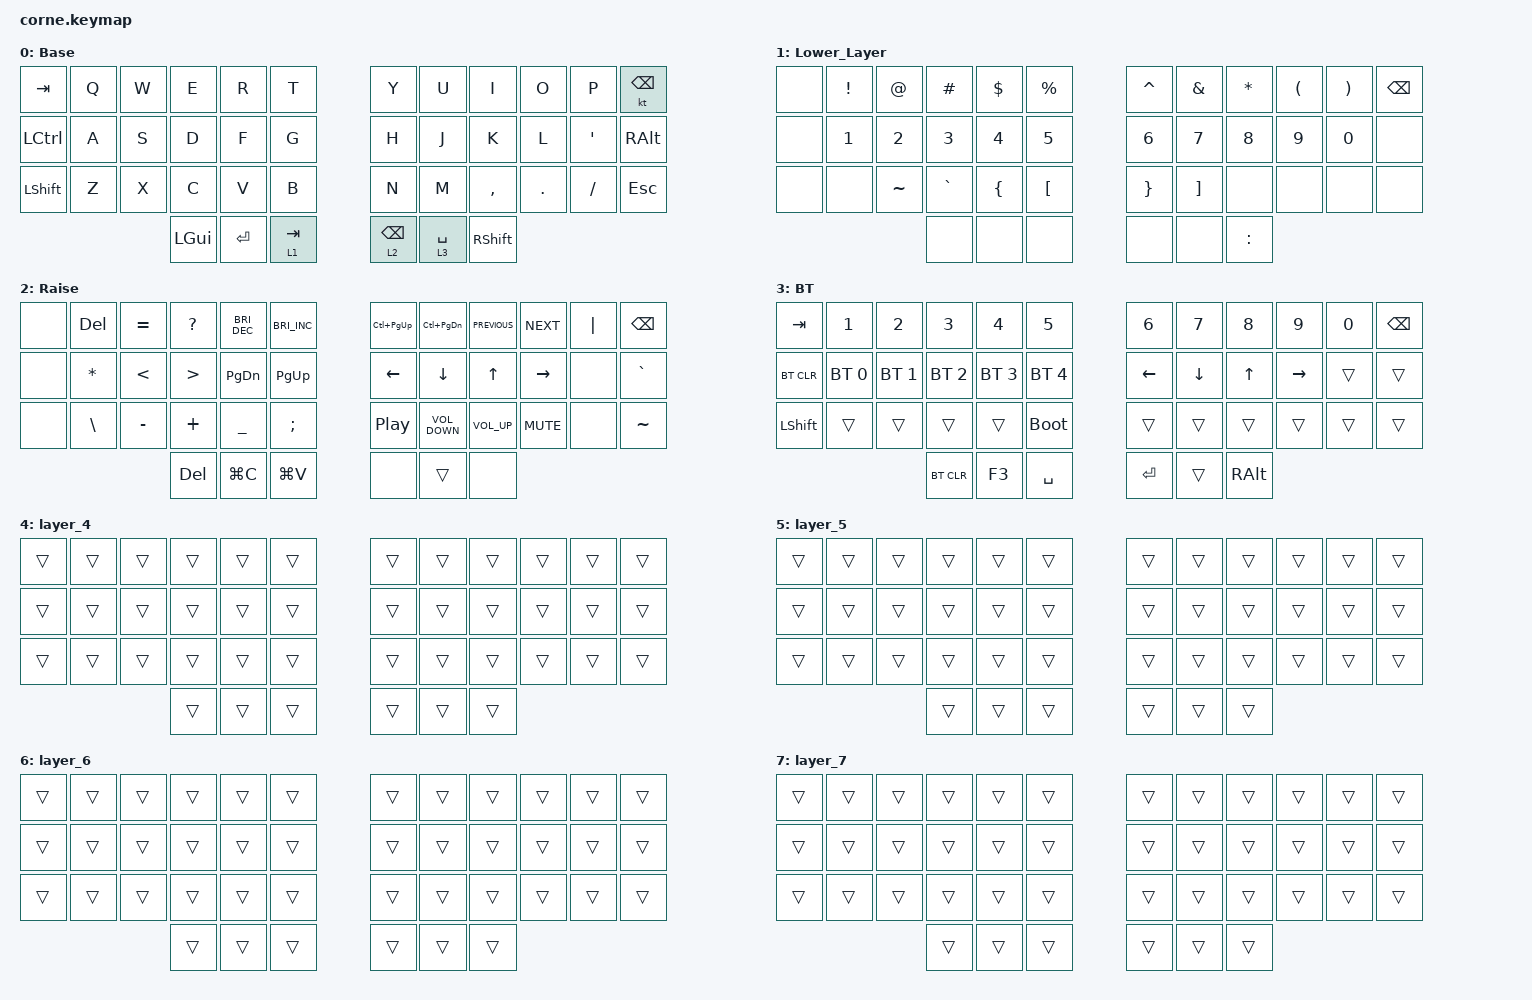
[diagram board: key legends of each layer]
/*
 * Copyright (c) 2020 The ZMK Contributors
 *
 * SPDX-License-Identifier: MIT
 *
 */

#include <behaviors.dtsi>
#include <dt-bindings/zmk/bt.h>
#include <dt-bindings/zmk/keys.h>
#include <dt-bindings/zmk/keys.h>

/ {
    keymap {
        compatible = "zmk,keymap";

        default_layer {
            // -----------------------------------------------------------------------------------------
            // |  TAB |  Q  |  W  |  E  |  R  |  T  |   |  Y  |  U   |  I  |  O  |  P  | BKSP |
            // | CTRL |  A  |  S  |  D  |  F  |  G  |   |  H  |  J   |  K  |  L  |  ;  |  '   |
            // | SHFT |  Z  |  X  |  C  |  V  |  B  |   |  N  |  M   |  ,  |  .  |  /  | ESC  |
            //                    | GUI | LWR | SPC |   | ENT | RSE  | ALT |

            label = "Base";
            bindings = <
&kp TAB           &kp Q  &kp W  &kp E     &kp R      &kp T        &kp Y            &kp U        &kp I            &kp O    &kp P             &kt BACKSPACE
&kp LEFT_CONTROL  &kp A  &kp S  &kp D     &kp F      &kp G        &kp H            &kp J        &kp K            &kp L    &kp SINGLE_QUOTE  &kp RIGHT_ALT
&kp LSHFT         &kp Z  &kp X  &kp C     &kp V      &kp B        &kp N            &kp M        &kp COMMA        &kp DOT  &kp FSLH          &kp ESC
                                &kp LGUI  &kp ENTER  &lt 1 TAB    &lt 2 BACKSPACE  &lt 3 SPACE  &kp RIGHT_SHIFT
            >;
        };

        Lower_Layer {
            bindings = <
&none  &kp EXCLAMATION  &kp AT_SIGN  &kp HASH   &kp DOLLAR      &kp PERCENT         &kp CARET        &kp AMPERSAND      &kp ASTERISK  &kp LEFT_PARENTHESIS  &kp RIGHT_PARENTHESIS  &kp BACKSPACE
&none  &kp N1           &kp N2       &kp N3     &kp N4          &kp N5              &kp N6           &kp N7             &kp N8        &kp N9                &kp N0                 &none
&none  &none            &kp TILDE    &kp GRAVE  &kp LEFT_BRACE  &kp LEFT_BRACKET    &kp RIGHT_BRACE  &kp RIGHT_BRACKET  &none         &none                 &none                  &none
                                     &none      &none           &none               &none            &none              &kp COLON
            >;
        };

        Raise_Layer {
            // -----------------------------------------------------------------------------------------
            // |  TAB |  !  |  @  |  #  |  $  |  %  |   |  ^  |  &  |  *  |  (  |  )  | BKSP |
            // | CTRL |     |     |     |     |     |   |  -  |  =  |  [  |  ]  |  \  |  `   |
            // | SHFT |     |     |     |     |     |   |  _  |  +  |  {  |  }  | "|" |  ~   |
            //                    | GUI |     | SPC |   | ENT |     | ALT |

            label = "Raise";
            bindings = <
&none  &kp DEL        &kp EQUAL      &kp QUESTION      &kp C_BRIGHTNESS_DEC  &kp C_BRIGHTNESS_INC    &kp LC(PAGE_UP)   &kp LC(PAGE_DOWN)  &kp C_PREVIOUS   &kp C_NEXT  &kp PIPE  &kp BSPC
&none  &kp ASTRK      &kp LESS_THAN  &kp GREATER_THAN  &kp PAGE_DOWN         &kp PAGE_UP             &kp LEFT_ARROW    &kp DOWN           &kp UP_ARROW     &kp RIGHT   &none     &kp GRAVE
&none  &kp BACKSLASH  &kp MINUS      &kp PLUS          &kp UNDER             &kp SEMI                &kp C_PLAY_PAUSE  &kp C_VOLUME_DOWN  &kp C_VOLUME_UP  &kp K_MUTE  &none     &kp TILDE
                                     &kp DEL           &kp LG(C)             &kp LG(V)               &none             &trans             &none
            >;
        };

        Func {
            // -----------------------------------------------------------------------------------------
            // |  TAB |  1  |  2  |  3  |  4  |  5  |   |  6  |  7  |  8  |  9  |  0  | BKSP |
            // | BTCLR| BT1 | BT2 | BT3 | BT4 | BT5 |   | LFT | DWN |  UP | RGT |     |      |
            // | SHFT |     |     |     |     |     |   |     |     |     |     |     |      |
            //                    |BTCLR|     | SPC |   | ENT |     | ALT |

            label = "BT";
            bindings = <
&kp TAB     &kp N1        &kp N2        &kp N3        &kp N4        &kp N5          &kp N6    &kp N7    &kp N8    &kp N9     &kp N0  &kp BSPC
&bt BT_CLR  &bt BT_SEL 0  &bt BT_SEL 1  &bt BT_SEL 2  &bt BT_SEL 3  &bt BT_SEL 4    &kp LEFT  &kp DOWN  &kp UP    &kp RIGHT  &trans  &trans
&kp LSHFT   &trans        &trans        &trans        &trans        &bootloader     &trans    &trans    &trans    &trans     &trans  &trans
                                        &bt BT_CLR    &kp F3        &kp SPACE       &kp RET   &trans    &kp RALT
            >;
        };

        layer_4 {
            bindings = <
&trans  &trans  &trans  &trans  &trans  &trans    &trans  &trans  &trans  &trans  &trans  &trans
&trans  &trans  &trans  &trans  &trans  &trans    &trans  &trans  &trans  &trans  &trans  &trans
&trans  &trans  &trans  &trans  &trans  &trans    &trans  &trans  &trans  &trans  &trans  &trans
                        &trans  &trans  &trans    &trans  &trans  &trans
            >;
        };

        layer_5 {
            bindings = <
&trans  &trans  &trans  &trans  &trans  &trans    &trans  &trans  &trans  &trans  &trans  &trans
&trans  &trans  &trans  &trans  &trans  &trans    &trans  &trans  &trans  &trans  &trans  &trans
&trans  &trans  &trans  &trans  &trans  &trans    &trans  &trans  &trans  &trans  &trans  &trans
                        &trans  &trans  &trans    &trans  &trans  &trans
            >;
        };

        layer_6 {
            bindings = <
&trans  &trans  &trans  &trans  &trans  &trans    &trans  &trans  &trans  &trans  &trans  &trans
&trans  &trans  &trans  &trans  &trans  &trans    &trans  &trans  &trans  &trans  &trans  &trans
&trans  &trans  &trans  &trans  &trans  &trans    &trans  &trans  &trans  &trans  &trans  &trans
                        &trans  &trans  &trans    &trans  &trans  &trans
            >;
        };

        layer_7 {
            bindings = <
&trans  &trans  &trans  &trans  &trans  &trans    &trans  &trans  &trans  &trans  &trans  &trans
&trans  &trans  &trans  &trans  &trans  &trans    &trans  &trans  &trans  &trans  &trans  &trans
&trans  &trans  &trans  &trans  &trans  &trans    &trans  &trans  &trans  &trans  &trans  &trans
                        &trans  &trans  &trans    &trans  &trans  &trans
            >;
        };
    };
};
